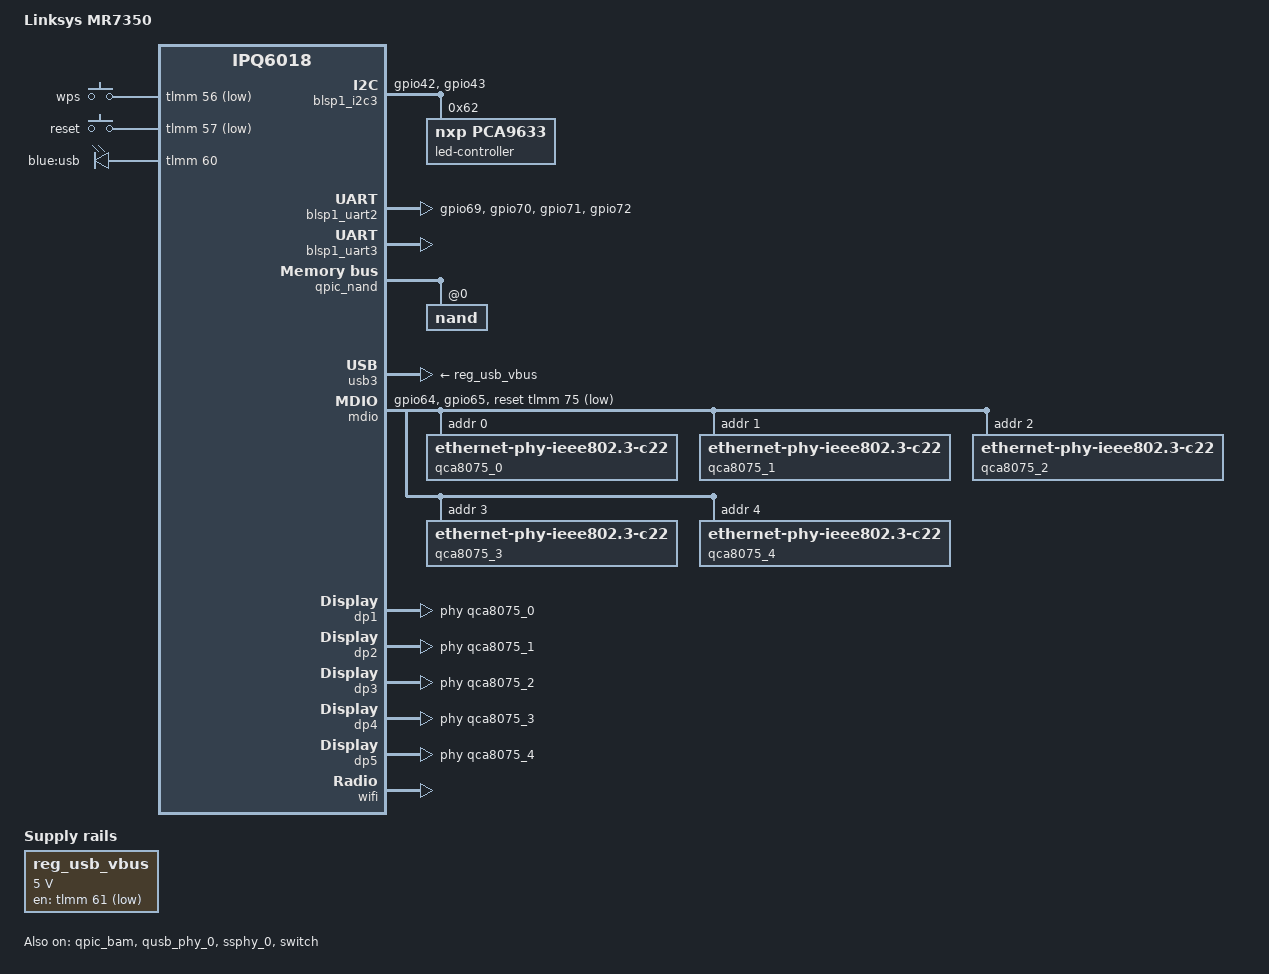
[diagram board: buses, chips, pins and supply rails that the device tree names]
// SPDX-License-Identifier: GPL-2.0-or-later OR MIT

/dts-v1/;

#include "ipq6018-512m.dtsi"
#include "ipq6018-ess.dtsi"
#include "ipq6018-mp5496.dtsi"
#include "ipq6018-nss.dtsi"

#include <dt-bindings/gpio/gpio.h>
#include <dt-bindings/input/input.h>

/ {
	model = "Linksys MR7350";
	compatible = "linksys,mr7350", "qcom,ipq6018";

	aliases {
		serial0 = &blsp1_uart3;
		serial1 = &blsp1_uart2;
		led-boot = &led_system_blue;
		led-failsafe = &led_system_red;
		led-running = &led_system_blue;
		led-upgrade = &led_system_blue;
	};

	chosen {
		stdout-path = "serial0:115200n8";
		bootargs-append = " root=/dev/ubiblock0_0";
	};

	keys {
		compatible = "gpio-keys";

		wps {
			label = "wps";
			linux,code = <KEY_WPS_BUTTON>;
			gpios = <&tlmm 56 GPIO_ACTIVE_LOW>;
		};

		reset {
			label = "reset";
			linux,code = <KEY_RESTART>;
			gpios = <&tlmm 57 GPIO_ACTIVE_LOW>;
		};
	};

	leds {
		compatible = "gpio-leds";

		usb {
			label = "blue:usb";
			gpios = <&tlmm 60 GPIO_ACTIVE_HIGH>;
			trigger-sources = <&usb3_port1>, <&usb3_port2>;
			linux,default-trigger = "usbport";
		};
	};

	reg_usb_vbus: regulator-usb-vbus {
		compatible = "regulator-fixed";
		regulator-name = "usb_vbus";
		regulator-min-microvolt = <5000000>;
		regulator-max-microvolt = <5000000>;
		gpio = <&tlmm 61 GPIO_ACTIVE_LOW>;
		regulator-always-on;
	};
};

&tlmm {
	hsuart_pins: hsuart-pins {
		mux {
			pins = "gpio69", "gpio70",
				"gpio71", "gpio72";
			function = "blsp1_uart";
			drive-strength = <8>;
			bias-disable;
		};
	};

	i2c_pins: i2c-pins {
		mux {
			pins = "gpio42", "gpio43";
			function = "blsp2_i2c";
			drive-strength = <8>;
			bias-pull-down;
		};
	};

	mdio_pins: mdio-pins {
		mdc {
			pins = "gpio64";
			function = "mdc";
			drive-strength = <8>;
			bias-pull-up;
		};

		mdio {
			pins = "gpio65";
			function = "mdio";
			drive-strength = <8>;
			bias-pull-up;
		};
	};
};

&blsp1_i2c3 {
	pinctrl-0 = <&i2c_pins>;
	pinctrl-names = "default";
	status = "okay";

	led-controller@62 {
		compatible = "nxp,pca9633";
		#address-cells = <1>;
		#size-cells = <0>;
		reg = <0x62>;

		led_system_red: led@0 {
			label = "red:system";
			reg = <0>;
		};

		led_system_green: led@1 {
			label = "green:system";
			reg = <1>;
		};

		led_system_blue: led@2 {
			label = "blue:system";
			reg = <2>;
			default-state = "on";
		};
	};
};

&blsp1_uart2 {
	pinctrl-0 = <&hsuart_pins>;
	pinctrl-names = "default";
	status = "okay";
};

&blsp1_uart3 {
	pinctrl-0 = <&serial_3_pins>;
	pinctrl-names = "default";
	status = "okay";
};

&dwc_0 {
	#address-cells = <1>;
	#size-cells = <0>;

	usb3_port1: port@1 {
		reg = <1>;
		#trigger-source-cells = <0>;
	};

	usb3_port2: port@2 {
		reg = <2>;
		#trigger-source-cells = <0>;
	};
};

&qpic_bam {
	status = "okay";
};

&qpic_nand {
	status = "okay";

	nand@0 {
		reg = <0>;
		nand-ecc-strength = <4>;
		nand-ecc-step-size = <512>;
		nand-bus-width = <8>;

		partitions {
			compatible = "qcom,smem-part";
		};
	};
};

&qusb_phy_0 {
	status = "okay";
};

&ssphy_0 {
	status = "okay";
};

&usb3 {
	vbus-supply = <&reg_usb_vbus>;
	status = "okay";
};

&mdio {
	status = "okay";

	pinctrl-0 = <&mdio_pins>;
	pinctrl-names = "default";
	reset-gpios = <&tlmm 75 GPIO_ACTIVE_LOW>;

	qca8075_0: ethernet-phy@0 {
		compatible = "ethernet-phy-ieee802.3-c22";
		reg = <0>;
	};

	qca8075_1: ethernet-phy@1 {
		compatible = "ethernet-phy-ieee802.3-c22";
		reg = <1>;
	};

	qca8075_2: ethernet-phy@2 {
		compatible = "ethernet-phy-ieee802.3-c22";
		reg = <2>;
	};

	qca8075_3: ethernet-phy@3 {
		compatible = "ethernet-phy-ieee802.3-c22";
		reg = <3>;
	};

	qca8075_4: ethernet-phy@4 {
		compatible = "ethernet-phy-ieee802.3-c22";
		reg = <4>;
	};
};

&switch {
	status = "okay";

	switch_cpu_bmp = <0x1>;  /* cpu port bitmap */
	switch_lan_bmp = <0x1e>; /* lan port bitmap */
	switch_wan_bmp = <0x20>; /* wan port bitmap */
	switch_inner_bmp = <0xc0>; /*inner port bitmap*/
	switch_mac_mode = <0x0>; /* mac mode for uniphy 0*/
	switch_mac_mode1 = <0xff>; /* mac mode for uniphy 1*/
	switch_mac_mode2 = <0xff>; /* mac mode for uniphy 2*/

	qcom,port_phyinfo {
		port@0 {
			port_id = <1>;
			phy_address = <0>;
		};
		port@1 {
			port_id = <2>;
			phy_address = <1>;
		};
		port@2 {
			port_id = <3>;
			phy_address = <2>;
		};
		port@3 {
			port_id = <4>;
			phy_address = <3>;
		};
		port@4 {
			port_id = <5>;
			phy_address = <4>;
		};
	};
};

&edma {
	status = "okay";
};

&dp1 {
	status = "okay";
	phy-handle = <&qca8075_0>;
	label = "lan1";
};

&dp2 {
	status = "okay";
	phy-handle = <&qca8075_1>;
	label = "lan2";
};

&dp3 {
	status = "okay";
	phy-handle = <&qca8075_2>;
	label = "lan3";
};

&dp4 {
	status = "okay";
	phy-handle = <&qca8075_3>;
	label = "lan4";
};

&dp5 {
	status = "okay";
	phy-handle = <&qca8075_4>;
	label = "wan";
};

&wifi {
	status = "okay";

	qcom,ath11k-calibration-variant = "Linksys-MR7350";
	qcom,ath11k-fw-memory-mode = <1>;
};
